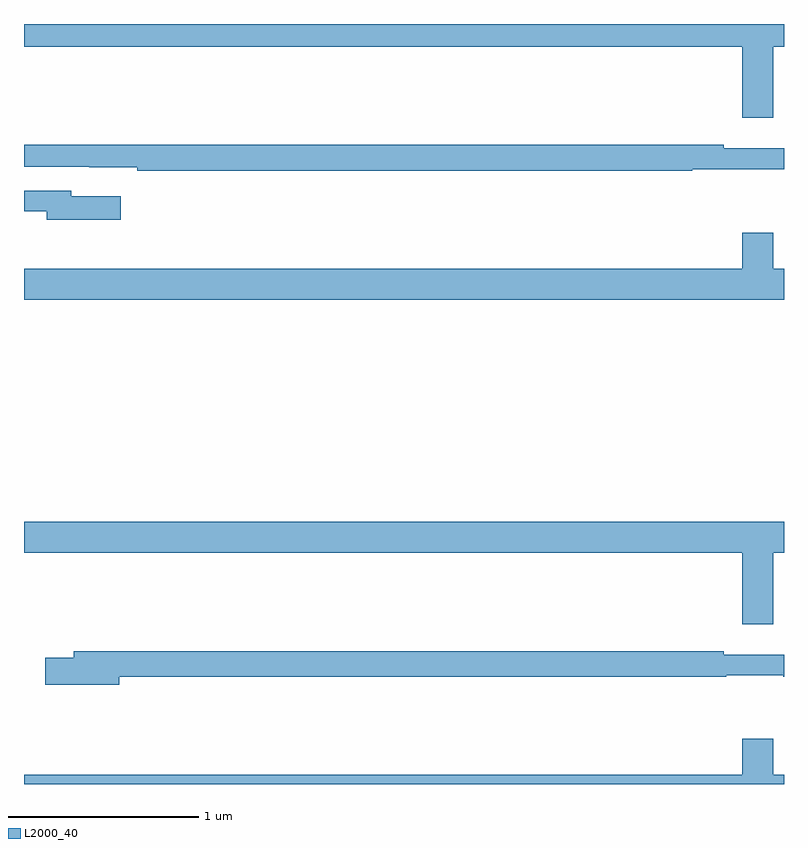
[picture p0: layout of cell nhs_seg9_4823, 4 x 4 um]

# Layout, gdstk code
import gdstk
lib = gdstk.Library(unit=1e-6, precision=1e-09)
def P(c, l, *ps):  # polygons
    for p in ps: c.add(gdstk.Polygon(p, *l))
L2000_40 = (2000, 40)

nhs_seg9_4823 = lib.new_cell('nhs_seg9_4823')
P(nhs_seg9_4823, L2000_40, [(392.944,1236.38),(393,1236.38),(393,1236.5),(389,1236.5),(389,1236.38),(392.78,1236.38),(392.78,1236.006),(392.944,1236.006)],
  [(392.518,1235.736),(393,1235.736),(393,1235.845),(392.684,1235.845),(392.684,1235.864),(389,1235.864),(389,1235.748),(389.344,1235.748),(389.344,1235.747),(389.596,1235.747),(389.596,1235.728),(392.518,1235.728)],
  [(389.509,1235.593),(389.248,1235.593),(389.248,1235.622),(389,1235.622),(389,1235.514),(389.12,1235.514),(389.12,1235.471),(389.509,1235.471)],
  [(393,1235.212),(392.944,1235.212),(392.944,1235.401),(392.78,1235.401),(392.78,1235.212),(389,1235.212),(389,1235.048),(393,1235.048)],
  [(392.944,1233.716),(393,1233.716),(393,1233.88),(389,1233.88),(389,1233.716),(392.78,1233.716),(392.78,1233.342),(392.944,1233.342)],
  [(389.5,1233.064),(392.696,1233.064),(392.696,1233.072),(392.996,1233.072),(392.996,1233.064),(393,1233.064),(393,1233.181),(392.684,1233.181),(392.684,1233.2),(389.261,1233.2),(389.261,1233.164),(389.112,1233.164),(389.112,1233.022),(389.5,1233.022)],
  [(393,1232.548),(392.944,1232.548),(392.944,1232.737),(392.78,1232.737),(392.78,1232.548),(389,1232.548),(389,1232.5),(393,1232.5)])

lib.write_gds('nhs_seg9_4823.gds')
